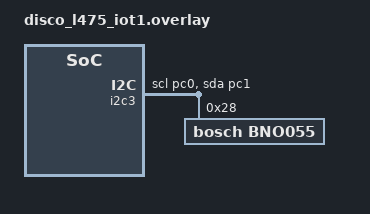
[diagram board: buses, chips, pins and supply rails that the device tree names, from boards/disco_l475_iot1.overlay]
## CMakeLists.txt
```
# SPDX-License-Identifier: Apache-2.0

cmake_minimum_required(VERSION 3.20.0)
find_package(Zephyr REQUIRED HINTS $ENV{ZEPHYR_BASE})
project(bno055)

FILE(GLOB app_sources src/*.c)
target_sources(app PRIVATE ${app_sources})
```

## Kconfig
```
# SPDX-License-Identifier: Apache-2.0

config LOG
	default y

config LOG_PRINTK
	default y

config SENSOR_LOG_LEVEL
	default 4

config I2C
	default y

source "Kconfig.zephyr"
```

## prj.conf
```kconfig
CONFIG_SENSOR=y
CONFIG_BNO055=y
```

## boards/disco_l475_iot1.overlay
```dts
&i2c3 {
        pinctrl-0 = <&i2c3_scl_pc0 &i2c3_sda_pc1>;

        status = "okay";

        bno055: bno055@28 {
                compatible = "bosch,bno055";

                reg = <0x28>;

                label = "BNO055";
        };
};
```

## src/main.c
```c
/* SPDX-License-Identifier: Apache-2.0 */

#include <zephyr.h>
#include <device.h>
#include <devicetree.h>
#include <drivers/sensor.h>

/*
 * Get a device structure from a devicetree node with compatible
 * "bosch,bno055". (If there are multiple, just pick one.)
 */
static const struct device *get_bno055_device(void)
{
	const struct device *dev = DEVICE_DT_GET_ANY(bosch_bno055);

	if (dev == NULL) {
		/* No such node, or the node does not have status "okay". */
		printk("\nError: no device found.\n");
		return NULL;
	}

	if (!device_is_ready(dev)) {
		printk("\nError: Device \"%s\" is not ready; "
		       "check the driver initialization logs for errors.\n",
		       dev->name);
		return NULL;
	}

	printk("Found device \"%s\", getting sensor data\n", dev->name);
	return dev;


}

void main(void)
{
	const struct device *dev = get_bno055_device();

	if (dev == NULL) {
		return;
	}

	while (1) {
		struct sensor_value euler_h, euler_r, euler_p;

		sensor_sample_fetch_chan(dev, SENSOR_CHAN_YRP);
		sensor_channel_get(dev, SENSOR_CHAN_YAW, &euler_h);
		sensor_channel_get(dev, SENSOR_CHAN_ROLL, &euler_r);
		sensor_channel_get(dev, SENSOR_CHAN_PITCH, &euler_p);

		printk("Euler angles, H: %d.%06d R: %d.%06d P: %d.%06d\n",
		       euler_h.val1, euler_h.val2,
		       euler_r.val1, euler_r.val2,
		       euler_p.val1, euler_p.val2);

		k_sleep(K_MSEC(10));
	}
}
```
